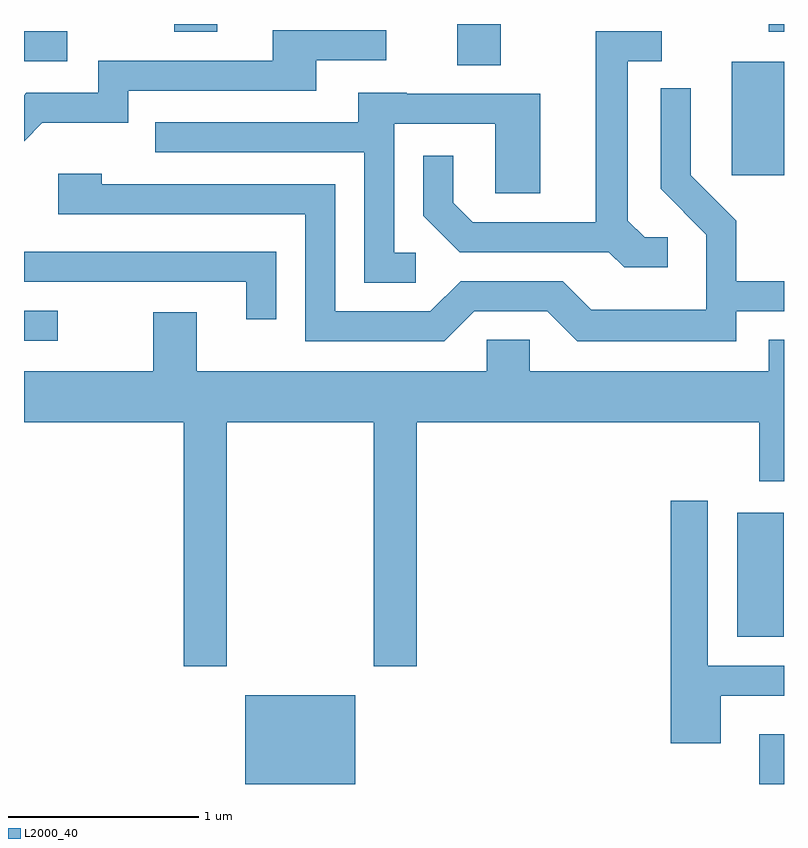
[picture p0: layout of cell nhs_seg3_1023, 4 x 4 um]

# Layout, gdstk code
import gdstk
lib = gdstk.Library(unit=1e-6, precision=1e-09)
def R(c, l, rs):  # rectangles x0, y0, x1, y1
    for r in rs: c.add(gdstk.rectangle(r[:2], r[2:], *l))
def P(c, l, *ps):  # polygons
    for p in ps: c.add(gdstk.Polygon(p, *l))
L2000_40 = (2000, 40)

nhs_seg3_1023 = lib.new_cell('nhs_seg3_1023')
R(nhs_seg3_1023, L2000_40, [(216.776,1121.892,217.354,1122.359), (219.481,1121.892,219.611,1122.154), (219.366,1122.666,219.609,1123.319), (215.611,1124.226,215.788,1124.384), (219.336,1125.096,219.611,1125.694), (217.891,1125.676,218.119,1125.892), (215.611,1125.696,215.838,1125.854), (216.401,1125.851,216.629,1125.892), (219.531,1125.851,219.611,1125.892)])
P(nhs_seg3_1023, L2000_40, [(215.707,1125.371),(216.159,1125.371),(216.159,1125.541),(217.149,1125.541),(217.149,1125.701),(217.518,1125.701),(217.518,1125.859),(216.921,1125.859),(216.921,1125.699),(216.001,1125.699),(216.001,1125.529),(215.624,1125.529),(215.611,1125.516),(215.611,1125.276)],
  [(218.998,1124.769),(218.877,1124.769),(218.789,1124.857),(218.789,1125.696),(218.968,1125.696),(218.968,1125.854),(218.621,1125.854),(218.621,1124.849),(217.972,1124.849),(217.869,1124.952),(217.869,1125.198),(217.711,1125.198),(217.711,1124.884),(217.904,1124.691),(218.689,1124.691),(218.769,1124.611),(218.998,1124.611)],
  [(217.982,1124.381),(218.364,1124.381),(218.524,1124.221),(219.359,1124.221),(219.359,1124.381),(219.611,1124.381),(219.611,1124.539),(219.359,1124.539),(219.359,1124.857),(219.119,1125.097),(219.119,1125.553),(218.961,1125.553),(218.961,1125.024),(219.201,1124.784),(219.201,1124.389),(218.597,1124.389),(218.447,1124.539),(217.909,1124.539),(217.749,1124.379),(217.249,1124.379),(217.249,1125.049),(216.019,1125.049),(216.019,1125.104),(215.791,1125.104),(215.791,1124.891),(217.091,1124.891),(217.091,1124.221),(217.822,1124.221)],
  [(217.673,1124.689),(217.559,1124.689),(217.559,1125.366),(218.091,1125.366),(218.091,1125.001),(218.329,1125.001),(218.329,1125.524),(217.625,1125.524),(217.625,1125.529),(217.371,1125.529),(217.371,1125.374),(216.303,1125.374),(216.303,1125.216),(217.401,1125.216),(217.401,1124.531),(217.673,1124.531)],
  [(216.939,1124.694),(215.611,1124.694),(215.611,1124.536),(216.781,1124.536),(216.781,1124.338),(216.939,1124.338)],
  [(216.679,1123.796),(217.451,1123.796),(217.451,1122.511),(217.679,1122.511),(217.679,1123.796),(219.481,1123.796),(219.481,1123.486),(219.611,1123.486),(219.611,1124.229),(219.531,1124.229),(219.531,1124.064),(218.274,1124.064),(218.274,1124.229),(218.046,1124.229),(218.046,1124.064),(216.519,1124.064),(216.519,1124.374),(216.291,1124.374),(216.291,1124.064),(215.611,1124.064),(215.611,1123.796),(216.451,1123.796),(216.451,1122.511),(216.679,1122.511)],
  [(219.279,1122.356),(219.611,1122.356),(219.611,1122.514),(219.209,1122.514),(219.209,1123.384),(219.016,1123.384),(219.016,1122.106),(219.279,1122.106)])

lib.write_gds('nhs_seg3_1023.gds')
